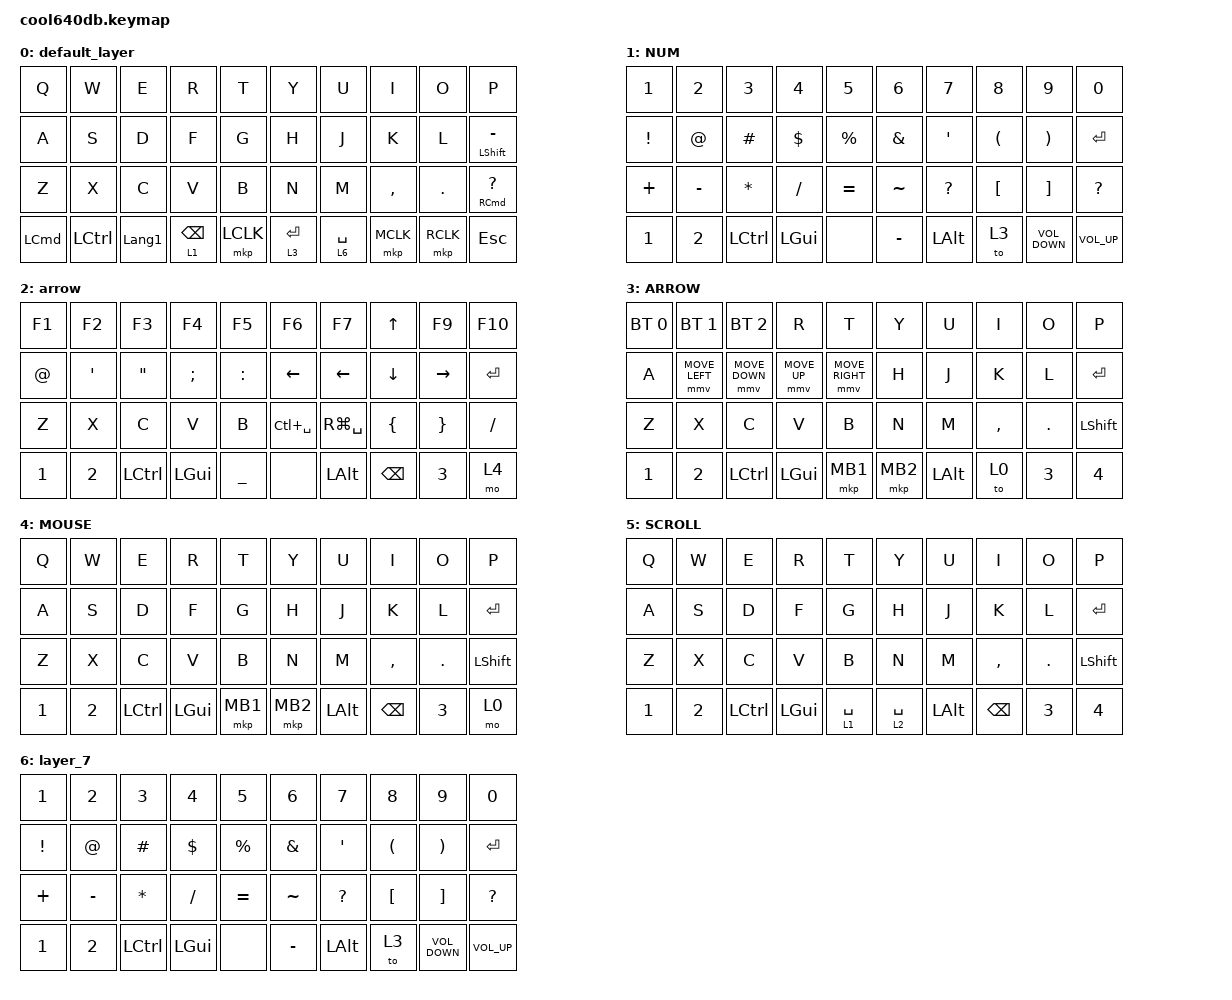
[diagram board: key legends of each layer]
#include <behaviors.dtsi>
#include <dt-bindings/zmk/bt.h>
#include <dt-bindings/zmk/keys.h>
#include <dt-bindings/zmk/pointing.h>

#define MOUSE 6

&mt {
    flavor = "balanced";
    quick-tap-ms = <0>;
};

/ {
    combos {
        compatible = "zmk,combos";

        ESC_ {
            bindings = <&kp ESCAPE>;
            key-positions = <0 1>;
            layers = <0>;
        };

        TAB_ {
            bindings = <&kp TAB>;
            key-positions = <10 11>;
        };

        caps {
            bindings = <&kp CAPS>;
            key-positions = <20 21>;
            layers = <0>;
        };

        BS {
            bindings = <&kp BACKSPACE>;
            key-positions = <9 8>;
            layers = <0>;
        };

        MB1_ {
            bindings = <&mkp MB1>;
            key-positions = <4 3>;
            layers = <0>;
        };

        MB2_ {
            bindings = <&mkp MB2>;
            key-positions = <3 2>;
            layers = <0>;
        };

        VOL_UP {
            bindings = <&kp C_VOLUME_UP>;
            key-positions = <5 6>;
            layers = <1>;
        };

        VOL_DOWN {
            bindings = <&kp C_VOLUME_DOWN>;
            key-positions = <4 3>;
            layers = <1>;
        };

        LEFTCLICK {
            bindings = <&mkp LCLK>;
            key-positions = <16 17>;
        };

        RIGHTCLICK {
            bindings = <&mkp RCLK>;
            key-positions = <17 18>;
        };

        MIDDLECLICK {
            bindings = <&mkp MCLK>;
            key-positions = <16 18>;
        };
    };

    macros {
        to_layer_0: to_layer_0 {
            compatible = "zmk,behavior-macro-one-param";
            #binding-cells = <1>;
            bindings = <&to 0 &macro_param_1to1 &kp MACRO_PLACEHOLDER>;
            label = "TO_LAYER_0";
        };
    };

    lt_to_layer_0: lt_to_layer_0 {
        compatible = "zmk,behavior-hold-tap";
        label = "LAYER_TAP_TO_0";
        bindings = <&mo>, <&to_layer_0>;

        #binding-cells = <2>;
        tapping-term-ms = <200>;
    };
};

/ {
    behaviors {
    };

    keymap {
        compatible = "zmk,keymap";

        default_layer {
            bindings = <
&kp Q             &kp W             &kp E           &kp R            &kp T      &kp Y        &kp U        &kp I      &kp O       &kp P
&kp A             &kp S             &kp D           &kp F            &kp G      &kp H        &kp J        &kp K      &kp L       &mt LEFT_SHIFT MINUS
&kp Z             &kp X             &kp C           &kp V            &kp B      &kp N        &kp M        &kp COMMA  &kp PERIOD  &mt RIGHT_COMMAND QUESTION
&kp LEFT_COMMAND  &kp LEFT_CONTROL  &kp LANGUAGE_1  &lt 1 BACKSPACE  &mkp LCLK  &lt 3 ENTER  &lt 6 SPACE  &mkp MCLK  &mkp RCLK   &kp ESCAPE
            >;
        };

        NUM {
            bindings = <
&kp N1           &kp N2       &kp N3            &kp N4        &kp N5       &kp N6         &kp N7        &kp N8                &kp N9                 &kp N0
&kp EXCLAMATION  &kp AT_SIGN  &kp HASH          &kp DOLLAR    &kp PERCENT  &kp AMPERSAND  &kp SQT       &kp LEFT_PARENTHESIS  &kp RIGHT_PARENTHESIS  &kp ENTER
&kp PLUS         &kp MINUS    &kp ASTERISK      &kp SLASH     &kp EQUAL    &kp TILDE      &kp QUESTION  &kp LEFT_BRACKET      &kp RIGHT_BRACKET      &kp QUESTION
&kp N1           &kp N2       &kp LEFT_CONTROL  &kp LEFT_GUI  &none        &kp MINUS      &kp LEFT_ALT  &to 3                 &kp C_VOLUME_DOWN      &kp C_VOLUME_UP
            >;
        };

        arrow {
            bindings = <
&kp F1       &kp F2   &kp F3             &kp F4         &kp F5          &kp F6         &kp F7         &kp UP_ARROW    &kp F9           &kp F10
&kp AT_SIGN  &kp SQT  &kp DOUBLE_QUOTES  &kp SEMICOLON  &kp COLON       &kp LEFT       &kp LEFT       &kp DOWN        &kp RIGHT        &kp ENTER
&kp Z        &kp X    &kp C              &kp V          &kp B           &kp LC(SPACE)  &kp RG(SPACE)  &kp LEFT_BRACE  &kp RIGHT_BRACE  &kp SLASH
&kp N1       &kp N2   &kp LEFT_CONTROL   &kp LEFT_GUI   &kp UNDERSCORE  &none          &kp LEFT_ALT   &kp BACKSPACE   &kp N3           &mo 4
            >;
        };

        ARROW {
            bindings = <
&bt BT_SEL 0  &bt BT_SEL 1    &bt BT_SEL 2      &kp R         &kp T            &kp Y     &kp U         &kp I      &kp O       &kp P
&kp A         &mmv MOVE_LEFT  &mmv MOVE_DOWN    &mmv MOVE_UP  &mmv MOVE_RIGHT  &kp H     &kp J         &kp K      &kp L       &kp ENTER
&kp Z         &kp X           &kp C             &kp V         &kp B            &kp N     &kp M         &kp COMMA  &kp PERIOD  &kp LEFT_SHIFT
&kp N1        &kp N2          &kp LEFT_CONTROL  &kp LEFT_GUI  &mkp MB1         &mkp MB2  &kp LEFT_ALT  &to 0      &kp N3      &kp N4
            >;
        };

        MOUSE {
            bindings = <
&kp Q   &kp W   &kp E             &kp R         &kp T     &kp Y     &kp U         &kp I          &kp O       &kp P
&kp A   &kp S   &kp D             &kp F         &kp G     &kp H     &kp J         &kp K          &kp L       &kp ENTER
&kp Z   &kp X   &kp C             &kp V         &kp B     &kp N     &kp M         &kp COMMA      &kp PERIOD  &kp LEFT_SHIFT
&kp N1  &kp N2  &kp LEFT_CONTROL  &kp LEFT_GUI  &mkp MB1  &mkp MB2  &kp LEFT_ALT  &kp BACKSPACE  &kp N3      &mo 0
            >;
        };

        SCROLL {
            bindings = <
&kp Q   &kp W   &kp E             &kp R         &kp T        &kp Y        &kp U         &kp I          &kp O       &kp P
&kp A   &kp S   &kp D             &kp F         &kp G        &kp H        &kp J         &kp K          &kp L       &kp ENTER
&kp Z   &kp X   &kp C             &kp V         &kp B        &kp N        &kp M         &kp COMMA      &kp PERIOD  &kp LEFT_SHIFT
&kp N1  &kp N2  &kp LEFT_CONTROL  &kp LEFT_GUI  &lt 1 SPACE  &lt 2 SPACE  &kp LEFT_ALT  &kp BACKSPACE  &kp N3      &kp N4
            >;
        };

        layer_7 {
            bindings = <
&kp N1           &kp N2       &kp N3            &kp N4        &kp N5       &kp N6         &kp N7        &kp N8                &kp N9                 &kp N0
&kp EXCLAMATION  &kp AT_SIGN  &kp HASH          &kp DOLLAR    &kp PERCENT  &kp AMPERSAND  &kp SQT       &kp LEFT_PARENTHESIS  &kp RIGHT_PARENTHESIS  &kp ENTER
&kp PLUS         &kp MINUS    &kp ASTERISK      &kp SLASH     &kp EQUAL    &kp TILDE      &kp QUESTION  &kp LEFT_BRACKET      &kp RIGHT_BRACKET      &kp QUESTION
&kp N1           &kp N2       &kp LEFT_CONTROL  &kp LEFT_GUI  &none        &kp MINUS      &kp LEFT_ALT  &to 3                 &kp C_VOLUME_DOWN      &kp C_VOLUME_UP
            >;
        };
    };
};
